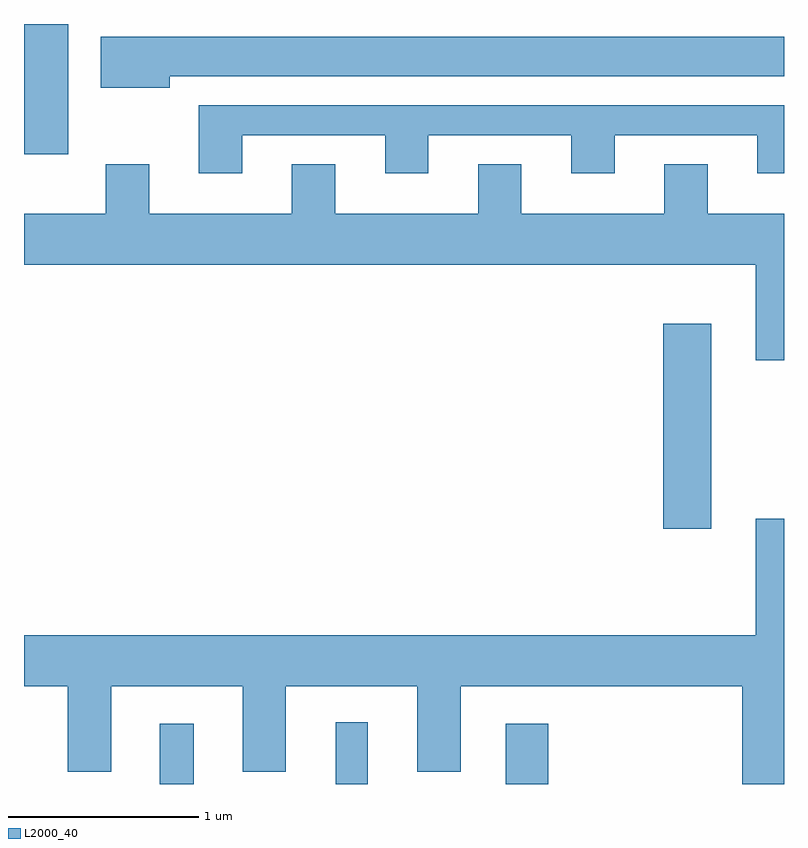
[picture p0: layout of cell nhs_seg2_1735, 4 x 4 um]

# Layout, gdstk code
import gdstk
lib = gdstk.Library(unit=1e-6, precision=1e-09)
def R(c, l, rs):  # rectangles x0, y0, x1, y1
    for r in rs: c.add(gdstk.rectangle(r[:2], r[2:], *l))
def P(c, l, *ps):  # polygons
    for p in ps: c.add(gdstk.Polygon(p, *l))
L2000_40 = (2000, 40)

nhs_seg2_1735 = lib.new_cell('nhs_seg2_1735')
R(nhs_seg2_1735, L2000_40, [(236.326,1047.802,236.504,1048.119), (237.251,1047.802,237.419,1048.128), (238.146,1047.802,238.369,1048.119), (238.976,1049.146,239.229,1050.224), (235.611,1051.116,235.844,1051.802)])
P(nhs_seg2_1735, L2000_40, [(236.379,1051.526),(239.611,1051.526),(239.611,1051.734),(236.016,1051.734),(236.016,1051.466),(236.379,1051.466)],
  [(236.759,1051.216),(237.511,1051.216),(237.511,1051.016),(237.739,1051.016),(237.739,1051.216),(238.491,1051.216),(238.491,1051.016),(238.719,1051.016),(238.719,1051.216),(239.471,1051.216),(239.471,1051.016),(239.611,1051.016),(239.611,1051.374),(236.531,1051.374),(236.531,1051.016),(236.759,1051.016)],
  [(239.611,1050.804),(239.209,1050.804),(239.209,1051.064),(238.981,1051.064),(238.981,1050.804),(238.229,1050.804),(238.229,1051.064),(238.001,1051.064),(238.001,1050.804),(237.249,1050.804),(237.249,1051.064),(237.021,1051.064),(237.021,1050.804),(236.269,1050.804),(236.269,1051.064),(236.041,1051.064),(236.041,1050.804),(235.611,1050.804),(235.611,1050.536),(239.461,1050.536),(239.461,1050.031),(239.611,1050.031)],
  [(239.611,1049.199),(239.461,1049.199),(239.461,1048.584),(235.611,1048.584),(235.611,1048.316),(235.841,1048.316),(235.841,1047.866),(236.069,1047.866),(236.069,1048.316),(236.761,1048.316),(236.761,1047.866),(236.989,1047.866),(236.989,1048.316),(237.681,1048.316),(237.681,1047.866),(237.909,1047.866),(237.909,1048.316),(239.391,1048.316),(239.391,1047.802),(239.611,1047.802)])

lib.write_gds('nhs_seg2_1735.gds')
